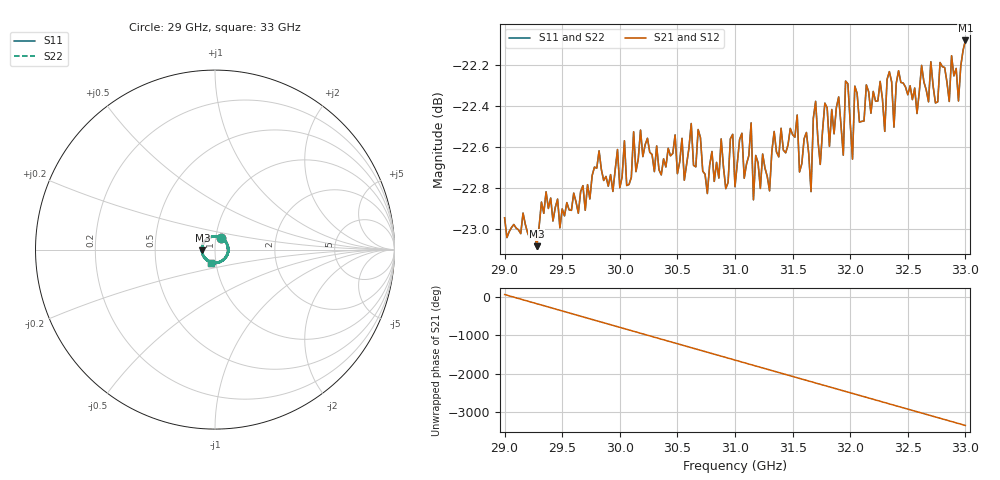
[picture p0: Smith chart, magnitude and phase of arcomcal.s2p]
!Keysight Technologies,N5224B,MY57181201,A.12.70.07
!Date: Thursday, July 14, 2022 17:19:33
!Correction: S11(Response(S21))
!S21(Response(S21))
!S12(Response(S21))
!S22(Response(S21))
!S2P File: Measurements: S11, S21, S12, S22:
# Hz S  dB  R 50
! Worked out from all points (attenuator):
!   201 points, 29 GHz to 33 GHz, reference 50 ohm
!   highest |S21| = -22.08 dB at 33 GHz (marker M1); lowest = -23.1 dB at 29.28 GHz (marker M2)
!   lowest |S11| = -23.1 dB at 29.28 GHz (marker M3), VSWR 1.15, Z = 43.5 - j0.278 ohm
!   |S11| at or under -10 dB: start of sweep to end of sweep
!   |S22| runs from -23.1 to -22.1 dB; largest |S21 - S12| = 0
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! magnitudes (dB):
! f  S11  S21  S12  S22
! 29 GHz  -22.9  -22.9  -22.9  -22.9
! 29.28 GHz  -23.1  -23.1  -23.1  -23.1
! 29.68 GHz  -22.8  -22.8  -22.8  -22.8
! 30.34 GHz  -22.7  -22.7  -22.7  -22.7
! 30.62 GHz  -22.5  -22.5  -22.5  -22.5
! 30.98 GHz  -22.5  -22.5  -22.5  -22.5
! 31 GHz  -22.8  -22.8  -22.8  -22.8
! 31.54 GHz  -22.4  -22.4  -22.4  -22.4
! 31.66 GHz  -22.8  -22.8  -22.8  -22.8
! 31.68 GHz  -22.5  -22.5  -22.5  -22.5
! 31.74 GHz  -22.7  -22.7  -22.7  -22.7
! 31.9 GHz  -22.4  -22.4  -22.4  -22.4
! 31.94 GHz  -22.6  -22.6  -22.6  -22.6
! 31.96 GHz  -22.3  -22.3  -22.3  -22.3
! 32.02 GHz  -22.7  -22.7  -22.7  -22.7
! 32.04 GHz  -22.3  -22.3  -22.3  -22.3
! 32.3 GHz  -22.5  -22.5  -22.5  -22.5
! 32.34 GHz  -22.2  -22.2  -22.2  -22.2
! 32.38 GHz  -22.5  -22.5  -22.5  -22.5
! 32.42 GHz  -22.2  -22.2  -22.2  -22.2
! 32.94 GHz  -22.4  -22.4  -22.4  -22.4
! 33 GHz  -22.1  -22.1  -22.1  -22.1
